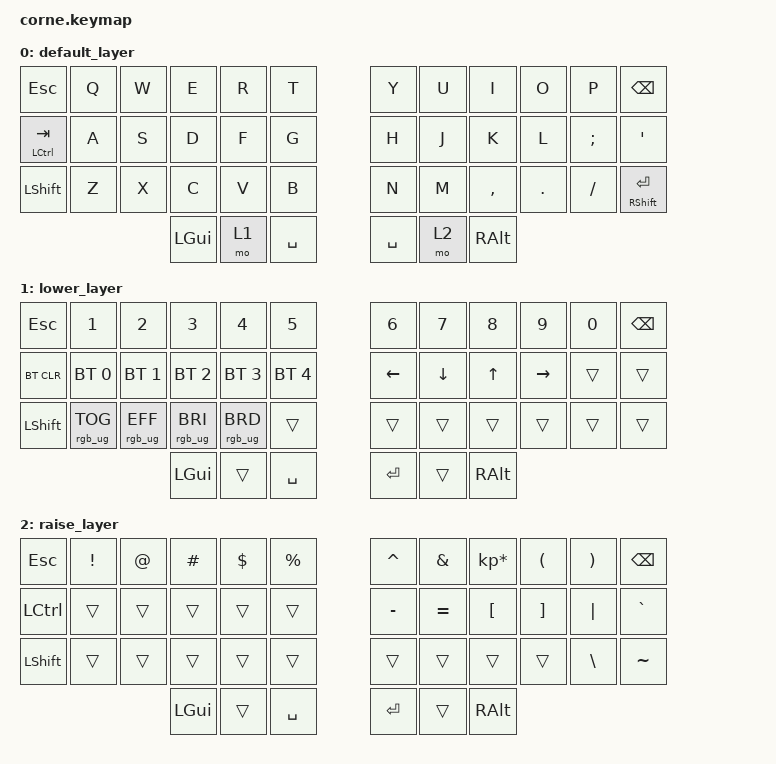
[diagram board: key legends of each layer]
/*
 * Copyright (c) 2020 The ZMK Contributors
 *
 * SPDX-License-Identifier: MIT
 */

#include <behaviors.dtsi>
#include <dt-bindings/zmk/keys.h>
#include <dt-bindings/zmk/bt.h>
#include <dt-bindings/zmk/rgb.h>

/ {
        keymap {
                compatible = "zmk,keymap";

                default_layer {
// --------------------------------------------------------------------------------------------
// | ESC        |  Q  |  W  |  E  |  R  |  T  |   |  Y  |  U   |  I  |  O  |  P  | BKSP       |
// | TAB / CTRL |  A  |  S  |  D  |  F  |  G  |   |  H  |  J   |  K  |  L  |  ;  |  '         |
// | SHFT       |  Z  |  X  |  C  |  V  |  B  |   |  N  |  M   |  ,  |  .  |  /  | ENT / SHFT |
//                          | GUI | LWR | SPC |   | SPC | RSE  | ALT |
                        bindings = <
   &kp ESC       &kp Q &kp W &kp E &kp R &kp T   &kp Y     &kp U  &kp I     &kp O   &kp P    &kp BSPC
   &mt LCTRL TAB &kp A &kp S &kp D &kp F &kp G   &kp H     &kp J  &kp K     &kp L   &kp SEMI &kp SQT
   &kp LSHFT     &kp Z &kp X &kp C &kp V &kp B   &kp N     &kp M  &kp COMMA &kp DOT &kp FSLH &mt RSHFT RET
                        &kp LGUI &mo 1 &kp SPACE            &kp SPACE &mo 2 &kp RALT
                        >;
                };
                lower_layer {
// -----------------------------------------------------------------------------------------
// |  ESC |  1  |  2  |  3  |  4  |  5  |   |  6  |  7  |  8  |  9  |  0  | BKSP |
// | BTCLR| BT1 | BT2 | BT3 | BT4 | BT5 |   | LFT | DWN |  UP | RGT |     |      |
// | SHFT |     |     |     |     |     |   |     |     |     |     |     |      |
//                    | GUI |     | SPC |   | ENT |     | ALT |
                        bindings = <
   &kp ESC    &kp N1          &kp N2          &kp N3          &kp N4          &kp N5            &kp N6   &kp N7   &kp N8 &kp N9    &kp N0 &kp BSPC
   &bt BT_CLR &bt BT_SEL 0    &bt BT_SEL 1    &bt BT_SEL 2    &bt BT_SEL 3    &bt BT_SEL 4      &kp LEFT &kp DOWN &kp UP &kp RIGHT &trans &trans
   &kp LSHFT  &rgb_ug RGB_TOG &rgb_ug RGB_EFF &rgb_ug RGB_BRI &rgb_ug RGB_BRD &trans            &trans   &trans   &trans &trans    &trans &trans
                                              &kp LGUI        &trans          &kp SPACE         &kp RET  &trans   &kp RALT
                        >;
                };

                raise_layer {
// -----------------------------------------------------------------------------------------
// |  ESC |  !  |  @  |  #  |  $  |  %  |   |  ^  |  &  |  *  |  (  |  )  | BKSP |
// | CTRL |     |     |     |     |     |   |  -  |  =  |  {  |  }  | "|" |  `   |
// | SHFT |     |     |     |     |     |   |  _  |  +  |  [  |  ]  |  \  |  ~   | // TODO: Fix this row when &mkp is committed
//                    | GUI |     | SPC |   | ENT |     | ALT |
                        bindings = <
   &kp  ESC  &kp EXCL  &kp AT  &kp HASH  &kp DLLR  &kp PRCNT   &kp CARET &kp AMPS  &kp KP_MULTIPLY &kp LPAR &kp RPAR &kp BSPC
   &kp LCTRL &trans    &trans  &trans    &trans    &trans      &kp MINUS &kp EQUAL &kp LBKT        &kp RBKT &kp PIPE &kp GRAVE
   &kp LSHFT &trans    &trans  &trans    &trans    &trans      &trans    &trans    &trans          &trans   &kp BSLH &kp TILDE
                                   &kp LGUI &trans &kp SPACE   &kp RET &trans &kp RALT
                        >;
                };
        };
};
